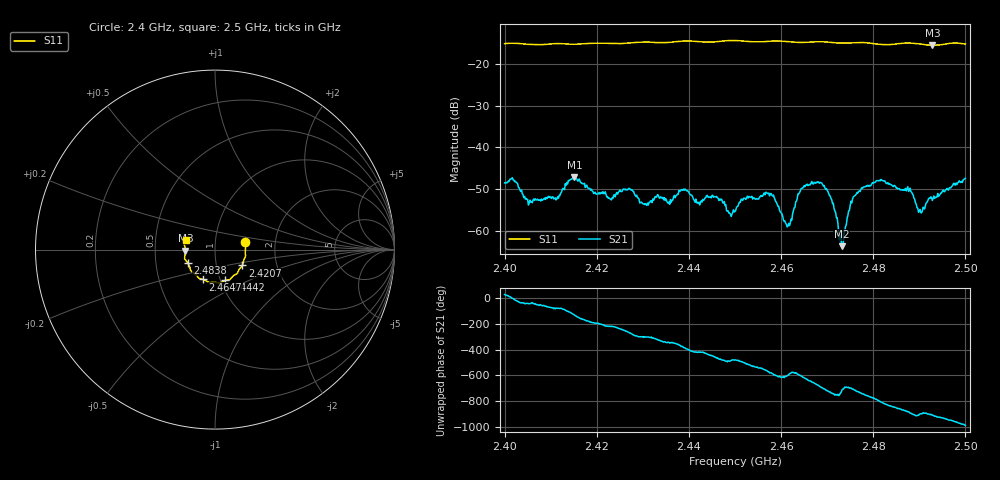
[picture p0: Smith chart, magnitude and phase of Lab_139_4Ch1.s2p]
# Hz S RI R 50
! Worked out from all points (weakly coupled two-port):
!   601 points, 2.4 GHz to 2.5 GHz, reference 50 ohm
!   highest |S21| = -47.11 dB at 2.4152 GHz (marker M1); lowest = -63.6 dB at 2.4732 GHz (marker M2)
!   lowest |S11| = -15.6 dB at 2.4928 GHz (marker M3), VSWR 1.40, Z = 35.8 - j0.414 ohm
!   |S11| at or under -10 dB: start of sweep to end of sweep
!   S12 and S22 are empty: the file has one direction only
!   S11 on the Smith chart (normalised r, x): 2.4 GHz: 1.40, +0.12; 2.4207 GHz: 1.33, -0.24; 2.4442 GHz: 1.05, -0.37; 2.4647 GHz: 0.83, -0.29; 2.4838 GHz: 0.73, -0.11; 2.5 GHz: 0.72, +0.08
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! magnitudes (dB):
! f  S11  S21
! 2.4 GHz  -15.2  -48.5
! 2.4057 GHz  -15.4  -53.0
! 2.4112 GHz  -15.2  -52.5
! 2.4152 GHz  -15.4  -47.1
! 2.4167 GHz  -15.3  -48.4
! 2.4207 GHz  -15.1  -51.1
! 2.4333 GHz  -15.0  -51.3
! 2.4442 GHz  -14.9  -51.9
! 2.45 GHz  -14.5  -55.3
! 2.4573 GHz  -14.7  -50.9
! 2.4615 GHz  -14.7  -58.7
! 2.4647 GHz  -14.9  -49.7
! 2.4667 GHz  -14.8  -48.1
! 2.4703 GHz  -14.9  -51.0
! 2.4732 GHz  -15.1  -63.6
! 2.476 GHz  -15.0  -51.5
! 2.4833 GHz  -15.5  -48.8
! 2.4838 GHz  -15.4  -48.9
! 2.4878 GHz  -15.1  -50.2
! 2.4902 GHz  -15.3  -54.8
! 2.4928 GHz  -15.6  -52.7
! 2.5 GHz  -15.3  -47.3
